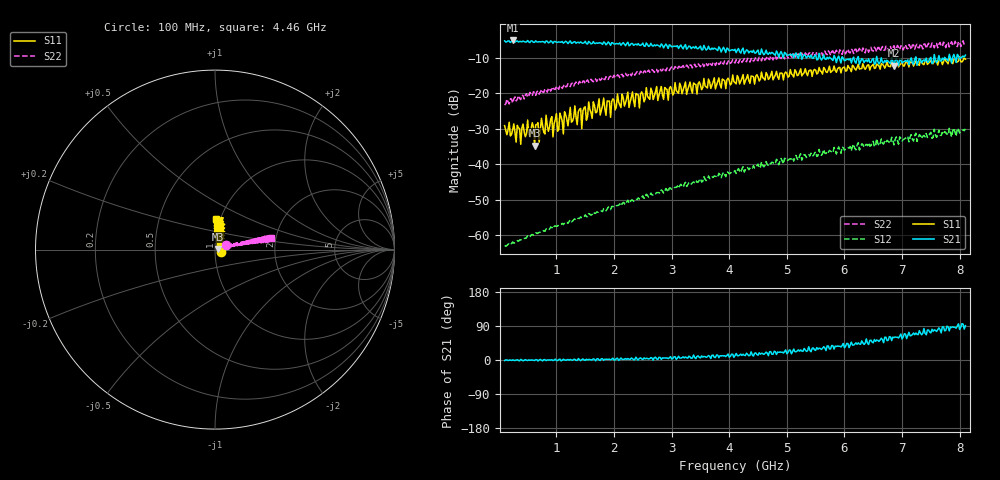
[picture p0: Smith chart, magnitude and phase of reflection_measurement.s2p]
# Hz S RI R 50
! Hz S11_real S11_imag S21_real S21_imag S12_real S12_imag S22_real S22_imag
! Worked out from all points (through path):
!   401 points, 100 MHz to 8.1 GHz, reference 50 ohm
!   highest |S21| = -5.12 dB at 240 MHz (marker M1); lowest = -12.3 dB at 6.86 GHz (marker M2)
!   lowest |S11| = -34.8 dB at 620 MHz (marker M3), VSWR 1.04, Z = 51.8 + j0.383 ohm
!   |S11| at or under -10 dB: start of sweep to 7.995 GHz; 8.004 GHz to end of sweep
!   |S22| runs from -23.3 to -5.2 dB; largest |S21 - S12| = 0.55
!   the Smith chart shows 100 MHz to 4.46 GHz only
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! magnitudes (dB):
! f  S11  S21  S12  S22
! 100 MHz  -29.1  -5.2  -62.9  -23.3
! 240 MHz  -30.3  -5.1  -62.0  -22.8
! 420 MHz  -28.7  -5.3  -61.0  -20.7
! 460 MHz  -32.3  -5.6  -61.0  -20.6
! 500 MHz  -27.6  -5.1  -60.2  -21.2
! 540 MHz  -32.4  -5.7  -60.6  -19.8
! 580 MHz  -28.3  -5.3  -59.9  -20.7
! 620 MHz  -34.8  -5.7  -60.0  -19.8
! 660 MHz  -28.9  -5.5  -59.6  -19.6
! 780 MHz  -31.0  -5.5  -58.8  -19.8
! 820 MHz  -26.2  -5.3  -58.3  -19.1
! 960 MHz  -28.6  -5.4  -57.6  -18.9
! 980 MHz  -27.4  -5.4  -57.5  -18.9
! 1.04 GHz  -30.3  -5.5  -57.2  -18.9
! 1.44 GHz  -30.0  -5.8  -55.1  -17.4
! 2.78 GHz  -20.6  -6.6  -48.1  -13.5
! 4.1 GHz  -17.0  -7.6  -41.8  -11.5
! 5.44 GHz  -15.3  -10.1  -37.7  -9.1
! 6.78 GHz  -12.4  -11.3  -33.9  -6.9
! 6.86 GHz  -12.4  -12.3  -34.6  -6.6
! 7.56 GHz  -11.1  -9.1  -30.2  -7.2
! 8.1 GHz  -10.4  -9.3  -30.1  -6.4
